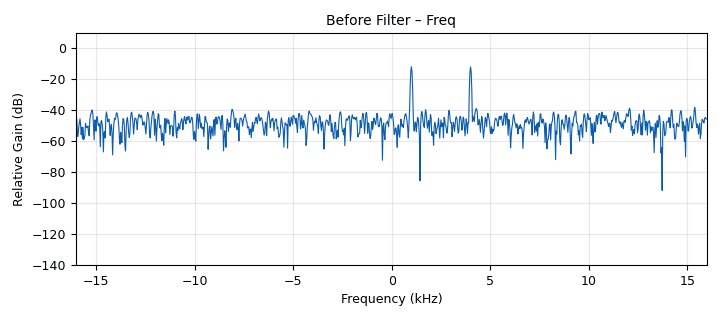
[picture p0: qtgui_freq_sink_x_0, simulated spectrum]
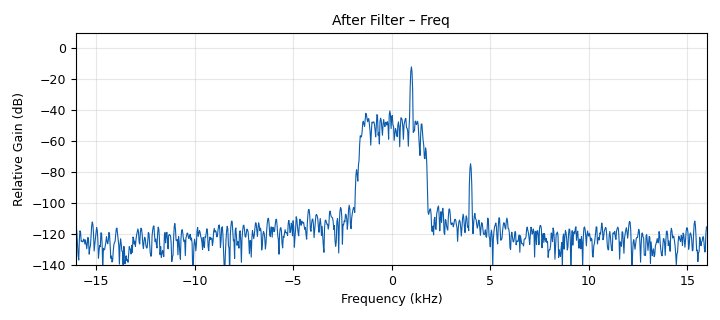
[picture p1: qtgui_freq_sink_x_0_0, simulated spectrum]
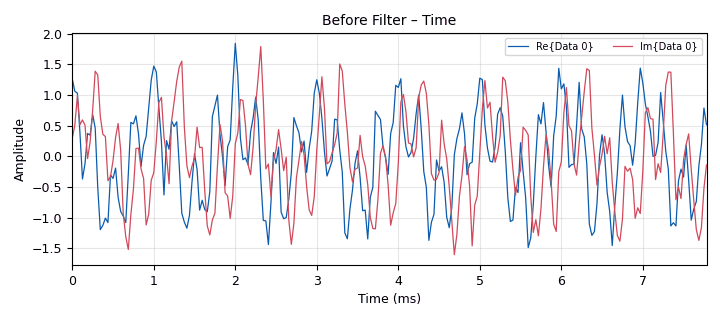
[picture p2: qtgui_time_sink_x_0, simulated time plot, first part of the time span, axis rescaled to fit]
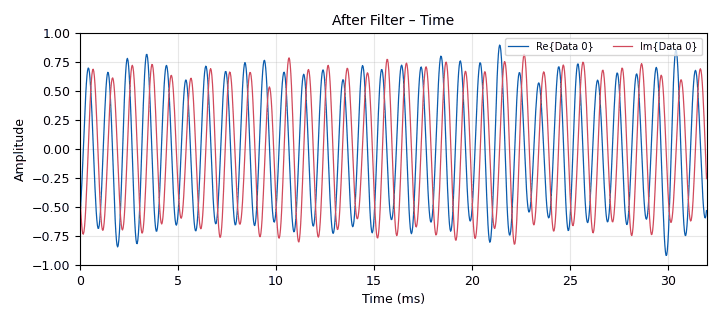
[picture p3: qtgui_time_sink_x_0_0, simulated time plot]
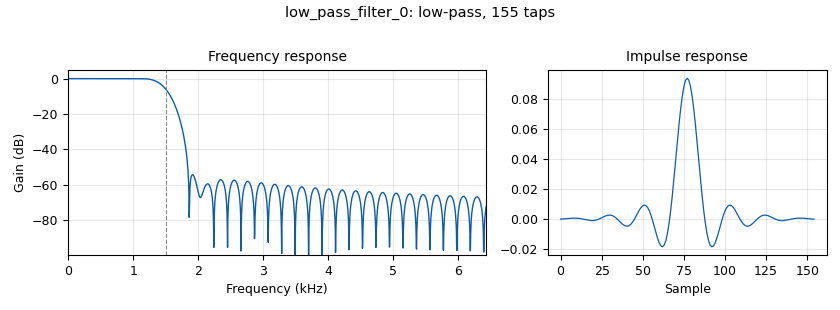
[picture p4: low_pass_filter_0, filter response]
options:
  parameters:
    generate_options: qt_gui
    id: iki_kaynak_noise
    output_language: python
    title: Not titled yet
  states: {}

blocks:
- name: samp_rate
  id: variable
  parameters:
    value: '32000'
  states: {}
- name: analog_noise_source_x_0
  id: analog_noise_source_x
  parameters:
    amp: '0.3'
    noise_type: analog.GR_GAUSSIAN
    seed: '0'
    type: complex
  states: {}
- name: analog_sig_source_x_0
  id: analog_sig_source_x
  parameters:
    amp: '0.7'
    freq: '1000'
    offset: '0'
    phase: '0'
    samp_rate: samp_rate
    type: complex
    waveform: analog.GR_SIN_WAVE
  states: {}
- name: analog_sig_source_x_0_0
  id: analog_sig_source_x
  parameters:
    amp: '0.7'
    freq: '4000'
    offset: '0'
    phase: '0'
    samp_rate: samp_rate
    type: complex
    waveform: analog.GR_SIN_WAVE
  states: {}
- name: blocks_add_xx_0
  id: blocks_add_xx
  parameters:
    num_inputs: '3'
    type: complex
  states: {}
- name: low_pass_filter_0
  id: low_pass_filter
  parameters:
    cutoff_freq: '1500'
    decim: '1'
    gain: '1'
    samp_rate: samp_rate
    type: fir_filter_ccf
    width: '500'
    win: window.WIN_HAMMING
  states: {}
- name: qtgui_freq_sink_x_0
  id: qtgui_freq_sink_x
  parameters:
    bw: samp_rate
    fc: '0'
    fftsize: '1024'
    name: '"Before Filter – Freq"'
    type: complex
  states: {}
- name: qtgui_freq_sink_x_0_0
  id: qtgui_freq_sink_x
  parameters:
    bw: samp_rate
    fc: '0'
    fftsize: '1024'
    name: '"After Filter – Freq"'
    type: complex
  states: {}
- name: qtgui_time_sink_x_0
  id: qtgui_time_sink_x
  parameters:
    name: '"Before Filter – Time"'
    size: '1024'
    srate: samp_rate
    type: complex
  states: {}
- name: qtgui_time_sink_x_0_0
  id: qtgui_time_sink_x
  parameters:
    name: '"After Filter – Time"'
    size: '1024'
    srate: samp_rate
    type: complex
  states: {}

connections:
- [analog_noise_source_x_0, '0', blocks_add_xx_0, '2']
- [analog_sig_source_x_0, '0', blocks_add_xx_0, '0']
- [analog_sig_source_x_0_0, '0', blocks_add_xx_0, '1']
- [blocks_add_xx_0, '0', low_pass_filter_0, '0']
- [blocks_add_xx_0, '0', qtgui_freq_sink_x_0, '0']
- [blocks_add_xx_0, '0', qtgui_time_sink_x_0, '0']
- [low_pass_filter_0, '0', qtgui_freq_sink_x_0_0, '0']
- [low_pass_filter_0, '0', qtgui_time_sink_x_0_0, '0']

metadata:
  file_format: 1
  grc_version: 3.10.12.0
